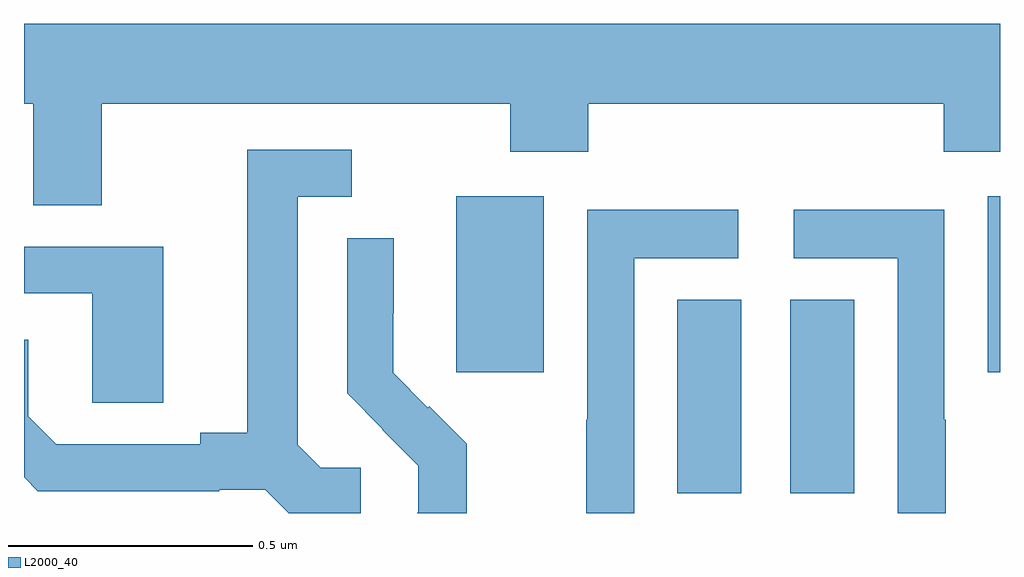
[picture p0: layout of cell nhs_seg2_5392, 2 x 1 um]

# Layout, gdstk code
import gdstk
lib = gdstk.Library(unit=1e-6, precision=1e-09)
def R(c, l, rs):  # rectangles x0, y0, x1, y1
    for r in rs: c.add(gdstk.rectangle(r[:2], r[2:], *l))
def P(c, l, *ps):  # polygons
    for p in ps: c.add(gdstk.Polygon(p, *l))
L2000_40 = (2000, 40)

nhs_seg2_5392 = lib.new_cell('nhs_seg2_5392')
R(nhs_seg2_5392, L2000_40, [(179.339,642.841,179.47,643.238), (179.57,642.841,179.701,643.238), (178.886,643.089,179.065,643.45), (179.975,643.089,180,643.45)])
P(nhs_seg2_5392, L2000_40, [(178.159,643.64),(178.996,643.64),(178.996,643.541),(179.156,643.541),(179.156,643.64),(179.885,643.64),(179.885,643.541),(180,643.541),(180,643.804),(178,643.804),(178,643.64),(178.019,643.64),(178.019,643.432),(178.159,643.432)],
  [(178.69,642.894),(178.608,642.894),(178.561,642.941),(178.561,643.449),(178.672,643.449),(178.672,643.545),(178.457,643.545),(178.457,642.965),(178.361,642.965),(178.361,642.942),(178.066,642.942),(178.009,642.999),(178.009,643.156),(178,643.156),(178,642.874),(178.028,642.846),(178.4,642.846),(178.4,642.849),(178.494,642.849),(178.543,642.8),(178.69,642.8)],
  [(179.25,643.323),(179.464,643.323),(179.464,643.422),(179.154,643.422),(179.154,642.992),(179.152,642.992),(179.152,642.8),(179.25,642.8)],
  [(179.889,642.992),(179.886,642.992),(179.886,643.422),(179.577,643.422),(179.577,643.323),(179.79,643.323),(179.79,642.8),(179.889,642.8)],
  [(178.907,642.943),(178.83,643.02),(178.827,643.017),(178.757,643.088),(178.757,643.21),(178.758,643.21),(178.758,643.364),(178.662,643.364),(178.662,643.046),(178.735,642.973),(178.734,642.972),(178.808,642.898),(178.808,642.801),(178.806,642.801),(178.806,642.8),(178.907,642.8)],
  [(178.285,643.347),(178,643.347),(178,643.251),(178.14,643.251),(178.14,643.027),(178.285,643.027)])

lib.write_gds('nhs_seg2_5392.gds')
